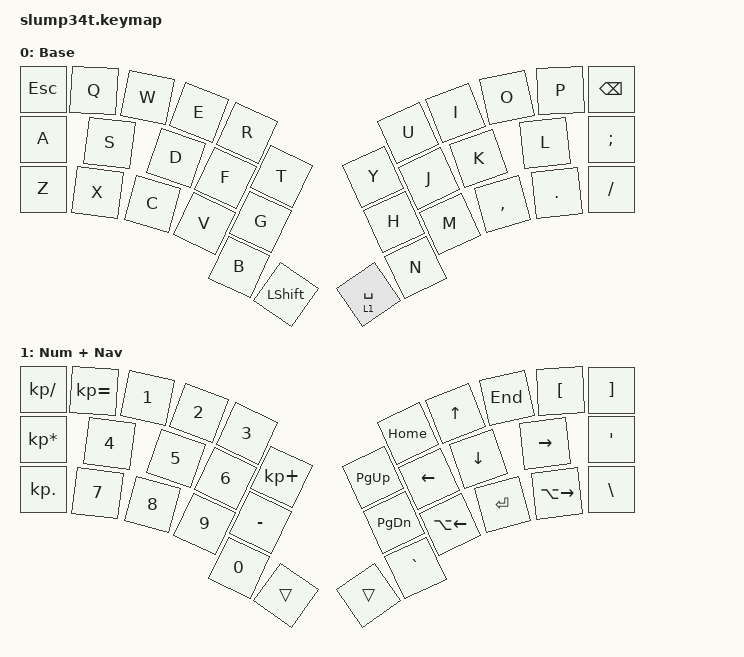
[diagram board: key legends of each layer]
#include <behaviors.dtsi>
#include <dt-bindings/zmk/keys.h>


/ {
    keymap {
        compatible = "zmk,keymap";

        default_layer { // Layer 0
            display-name = "Base";
            bindings = <
                &kp ESCAPE &kp Q &kp W &kp E &kp R &kp T                       &kp Y &kp U &kp I     &kp O   &kp P     &kp BKSP
                           &kp A &kp S &kp D &kp F &kp G                       &kp H &kp J &kp K     &kp L   &kp SEMI
                           &kp Z &kp X &kp C &kp V &kp B &kp LSHFT &lt 1 SPACE &kp N &kp M &kp COMMA &kp DOT &kp SLASH
            >;
        };

        num_nav_layer { // Layer 0
            display-name = "Num + Nav";
            bindings = <
                &kp KP_DIVIDE &kp KP_EQUAL    &kp N1 &kp N2 &kp N3 &kp KP_PLUS              &kp PG_UP &kp HOME     &kp UP     &kp END       &kp LBKT &kp RBKT
                              &kp KP_MULTIPLY &kp N4 &kp N5 &kp N6 &kp MINUS                &kp PG_DN &kp LEFT     &kp DOWN   &kp RIGHT     &kp SQT
                              &kp KP_DOT      &kp N7 &kp N8 &kp N9 &kp N0     &trans &trans &kp GRAVE &kp LA(LEFT) &kp RETURN &kp LA(RIGHT) &kp BSLH
            >;
        };

        // Empty layers for ZMK Studio:
        extra1 {
            status = "reserved";
        };
        extra2 {
            status = "reserved";
        };
        extra3 {
            status = "reserved";
        };
        extra4 {
            status = "reserved";
        };
    };
};

/ {
    combos {
        compatible = "zmk,combos";

        // Top left (Escape) + top right (Backspace) = &studio_unlock
        combo_studio_unlock {
            timeout-ms = <100>;
            key-positions = <0 11>;
            bindings = <&studio_unlock>;
        };
    };
};
